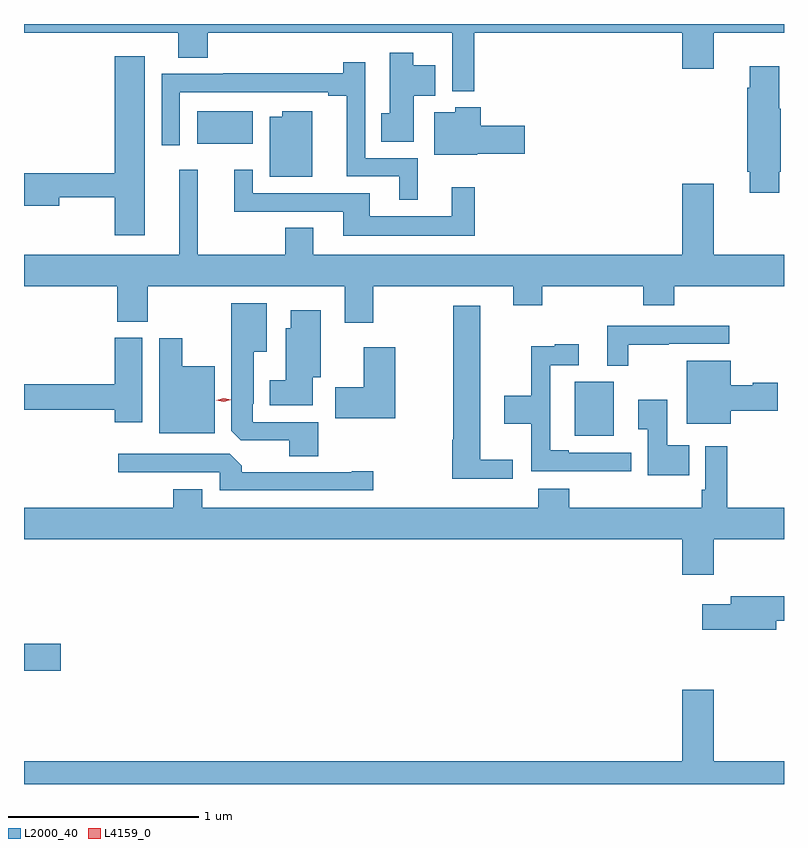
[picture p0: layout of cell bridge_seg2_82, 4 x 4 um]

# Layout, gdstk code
import gdstk
lib = gdstk.Library(unit=1e-6, precision=1e-09)
def R(c, l, rs):  # rectangles x0, y0, x1, y1
    for r in rs: c.add(gdstk.rectangle(r[:2], r[2:], *l))
def P(c, l, *ps):  # polygons
    for p in ps: c.add(gdstk.Polygon(p, *l))
L2000_40 = (2000, 40)
L4159_0 = (4159, 0)

bridge_seg2_82 = lib.new_cell('bridge_seg2_82')
R(bridge_seg2_82, L2000_40, [(329.375,637.618,329.569,637.76), (332.273,638.855,332.479,639.139), (330.287,640.394,330.58,640.564)])
P(bridge_seg2_82, L2000_40, [(331.745,640.976),(332.84,640.976),(332.84,640.788),(333.004,640.788),(333.004,640.976),(333.375,640.976),(333.375,641.023),(329.375,641.023),(329.375,640.976),(330.188,640.976),(330.188,640.846),(330.341,640.846),(330.341,640.976),(331.629,640.976),(331.629,640.67),(331.745,640.67)],
  [(331.426,640.646),(331.54,640.646),(331.54,640.807),(331.423,640.807),(331.423,640.873),(331.301,640.873),(331.301,640.554),(331.255,640.554),(331.255,640.402),(331.426,640.402)],
  [(330.01,640.852),(329.852,640.852),(329.852,640.238),(329.375,640.238),(329.375,640.067),(329.56,640.067),(329.56,640.11),(329.852,640.11),(329.852,639.912),(330.01,639.912)],
  [(331.447,640.317),(331.17,640.317),(331.17,640.822),(331.054,640.822),(331.054,640.763),(330.424,640.763),(330.424,640.761),(330.099,640.761),(330.099,640.386),(330.195,640.386),(330.195,640.665),(330.977,640.665),(330.977,640.645),(331.073,640.645),(331.073,640.221),(331.349,640.221),(331.349,640.097),(331.447,640.097)],
  [(333.349,640.246),(333.357,640.246),(333.357,640.577),(333.349,640.577),(333.349,640.801),(333.194,640.801),(333.194,640.688),(333.182,640.688),(333.182,640.246),(333.194,640.246),(333.194,640.134),(333.349,640.134)],
  [(331.761,640.34),(332.011,640.34),(332.011,640.487),(331.778,640.487),(331.778,640.585),(331.644,640.585),(331.644,640.558),(331.535,640.558),(331.535,640.334),(331.761,640.334)],
  [(330.892,640.564),(330.734,640.564),(330.734,640.534),(330.668,640.534),(330.668,640.22),(330.892,640.22)],
  [(331.212,639.644),(331.949,639.644),(331.949,639.542),(332.102,639.542),(332.102,639.644),(332.633,639.644),(332.633,639.542),(332.798,639.542),(332.798,639.644),(333.375,639.644),(333.375,639.808),(333.004,639.808),(333.004,640.183),(332.84,640.183),(332.84,639.808),(330.898,639.808),(330.898,639.95),(330.751,639.95),(330.751,639.808),(330.29,639.808),(330.29,640.255),(330.191,640.255),(330.191,639.808),(329.375,639.808),(329.375,639.644),(329.867,639.644),(329.867,639.457),(330.027,639.457),(330.027,639.644),(331.064,639.644),(331.064,639.45),(331.212,639.45)],
  [(331.747,640.165),(331.625,640.165),(331.625,640.012),(331.195,640.012),(331.195,640.131),(330.579,640.131),(330.579,640.255),(330.482,640.255),(330.482,640.035),(331.055,640.035),(331.055,639.908),(331.747,639.908)],
  [(330.923,638.928),(330.579,638.928),(330.579,639.025),(330.583,639.025),(330.583,639.299),(330.652,639.299),(330.652,639.553),(330.467,639.553),(330.467,638.881),(330.516,638.832),(330.77,638.832),(330.77,638.749),(330.923,638.749)],
  [(331.948,638.729),(331.777,638.729),(331.777,639.541),(331.633,639.541),(331.633,638.834),(331.628,638.834),(331.628,638.63),(331.948,638.63)],
  [(330.895,639.164),(330.937,639.164),(330.937,639.517),(330.779,639.517),(330.779,639.423),(330.752,639.423),(330.752,639.148),(330.668,639.148),(330.668,639.017),(330.895,639.017)],
  [(332.554,639.334),(332.768,639.334),(332.768,639.339),(333.088,639.339),(333.088,639.435),(332.444,639.435),(332.444,639.224),(332.554,639.224)],
  [(329.998,639.372),(329.852,639.372),(329.852,639.128),(329.375,639.128),(329.375,638.992),(329.852,638.992),(329.852,638.928),(329.998,638.928)],
  [(330.379,639.223),(330.208,639.223),(330.208,639.37),(330.086,639.37),(330.086,638.87),(330.379,638.87)],
  [(332.572,638.766),(332.242,638.766),(332.242,638.779),(332.145,638.779),(332.145,639.228),(332.296,639.228),(332.296,639.337),(332.168,639.337),(332.168,639.326),(332.044,639.326),(332.044,639.066),(331.902,639.066),(331.902,638.918),(332.044,638.918),(332.044,638.67),(332.329,638.67),(332.329,638.669),(332.572,638.669)],
  [(331.329,639.322),(331.163,639.322),(331.163,639.111),(331.014,639.111),(331.014,638.948),(331.329,638.948)],
  [(333.094,638.987),(333.343,638.987),(333.343,639.134),(333.21,639.134),(333.21,639.121),(333.094,639.121),(333.094,639.25),(332.864,639.25),(332.864,638.918),(333.094,638.918)],
  [(332.876,638.806),(332.761,638.806),(332.761,639.046),(332.607,639.046),(332.607,638.89),(332.657,638.89),(332.657,638.648),(332.876,638.648)],
  [(333.004,638.312),(333.375,638.312),(333.375,638.476),(333.077,638.476),(333.077,638.8),(332.961,638.8),(332.961,638.572),(332.941,638.572),(332.941,638.476),(332.246,638.476),(332.246,638.578),(332.081,638.578),(332.081,638.476),(330.313,638.476),(330.313,638.575),(330.161,638.575),(330.161,638.476),(329.375,638.476),(329.375,638.312),(332.84,638.312),(332.84,638.124),(333.004,638.124)],
  [(331.213,638.669),(331.1,638.669),(331.1,638.664),(330.521,638.664),(330.521,638.698),(330.459,638.76),(329.871,638.76),(329.871,638.664),(330.405,638.664),(330.405,638.568),(331.213,638.568)],
  [(333.334,637.882),(333.375,637.882),(333.375,638.011),(333.095,638.011),(333.095,637.969),(332.946,637.969),(332.946,637.835),(333.334,637.835)],
  [(333.375,637.144),(333.004,637.144),(333.004,637.519),(332.84,637.519),(332.84,637.144),(329.375,637.144),(329.375,637.023),(333.375,637.023)])
P(bridge_seg2_82, L4159_0, [(330.426,639.034),(330.386,639.044),(330.386,639.044),(330.386,639.044),(330.426,639.054),(330.467,639.045),(330.467,639.045),(330.467,639.045)])

lib.write_gds('bridge_seg2_82.gds')
